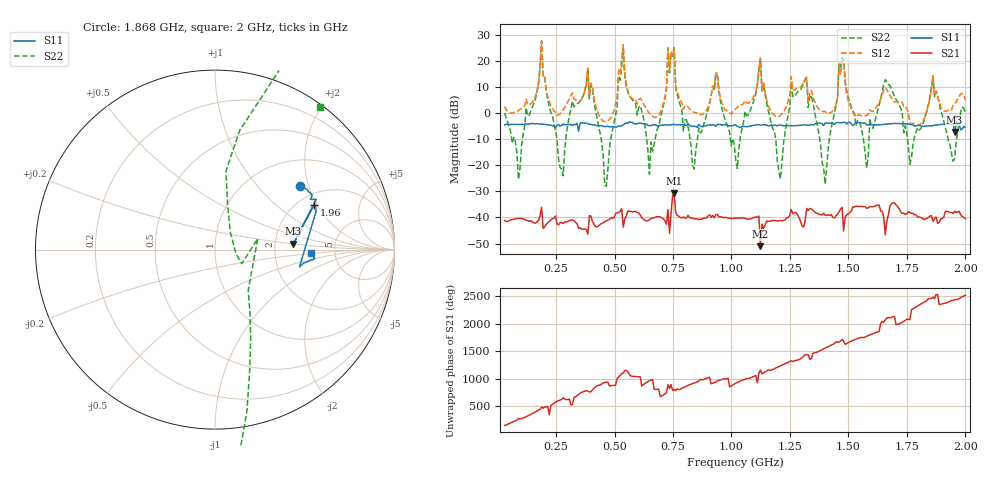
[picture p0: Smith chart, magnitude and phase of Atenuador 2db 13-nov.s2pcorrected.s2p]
# Hz S DB R 50.000000
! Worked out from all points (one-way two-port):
!   300 points, 30 MHz to 2 GHz, reference 50 ohm
!   highest |S21| = -30.62 dB at 754.7 MHz (marker M1); lowest = -51.0 dB at 1.124 GHz (marker M2)
!   lowest |S11| = -7.2 dB at 1.954 GHz (marker M3), VSWR 2.55, Z = 127 + j10.3 ohm
!   |S11| at or under -10 dB: nowhere
!   |S22| runs from -28.0 to 27.5 dB; largest |S21 - S12| = 25
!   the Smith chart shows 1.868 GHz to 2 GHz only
!   S11 on the Smith chart (normalised r, x): 1.868 GHz: 1.61, +1.76; 1.96 GHz: 2.42, +1.88; 2 GHz: 3.30, -0.17
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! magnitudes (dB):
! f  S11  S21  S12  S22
! 30 MHz  -4.5  -41.2  2.5  0.1
! 280.4 MHz  -4.1  -42.3  1.2  -24.0
! 359.4 MHz  -3.7  -44.5  5.4  5.4
! 464.8 MHz  -5.1  -41.4  -3.1  -28.0
! 537.3 MHz  -4.5  -43.7  26.3  24.2
! 688.9 MHz  -4.9  -39.7  -0.8  -4.9
! 754.7 MHz  -4.2  -30.6  25.2  24.7
! 840.4 MHz  -5.0  -40.5  0.2  -21.4
! 932.6 MHz  -5.1  -39.0  15.4  14.9
! 1.018 GHz  -4.5  -40.2  1.6  -18.1
! 1.124 GHz  -4.6  -51.0  21.1  20.7
! 1.209 GHz  -4.6  -41.2  -0.9  -25.2
! 1.348 GHz  -4.5  -37.3  6.8  4.1
! 1.4 GHz  -3.7  -39.2  0.7  -27.3
! 1.473 GHz  -3.6  -36.1  20.1  21.5
! 1.578 GHz  -4.5  -36.5  -0.8  -20.9
! 1.677 GHz  -4.1  -35.7  6.8  10.5
! 1.763 GHz  -4.3  -38.2  -3.9  -19.6
! 1.868 GHz  -4.6  -40.4  7.0  6.3
! 1.954 GHz  -7.2  -37.7  3.6  -17.6
! 1.96 GHz  -4.4  -38.1  4.2  -11.3
! 2 GHz  -5.4  -40.5  5.1  -0.1
